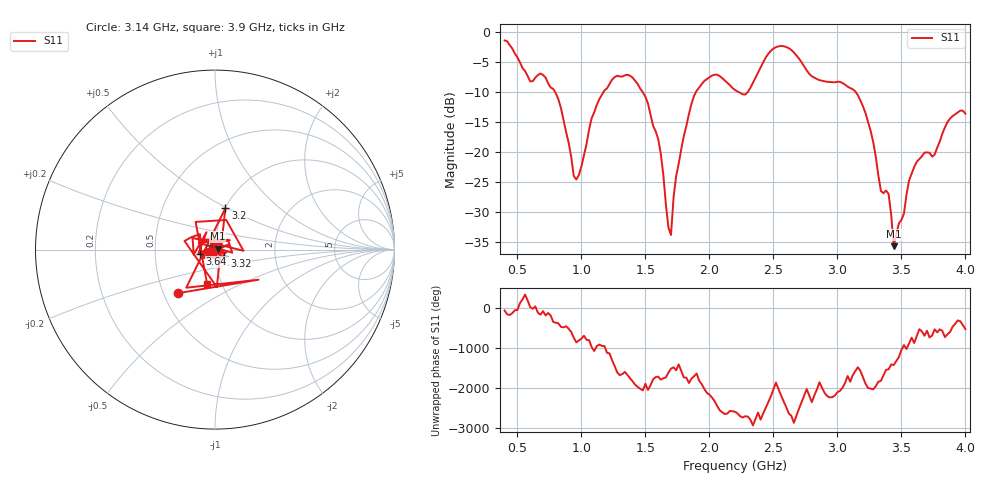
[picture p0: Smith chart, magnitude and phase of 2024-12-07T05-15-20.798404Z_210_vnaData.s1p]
!Created with skrf (http://scikit-rf.org).
# Hz S RI R 50.0
!freq ReS11 ImS11
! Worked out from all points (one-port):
!   181 points, 400 MHz to 4 GHz, reference 50 ohm
!   lowest |S11| = -35.8 dB at 3.44 GHz (marker M1), VSWR 1.03, Z = 51.5 + j0.627 ohm
!   |S11| at or under -10 dB: 792.2 MHz to 1.175 GHz (382.3 MHz wide, 38.9 % of centre); 1.476 GHz to 1.897 GHz (420.7 MHz wide, 24.9 % of centre); 3.141 GHz to end of sweep (the widest 3 of 4)
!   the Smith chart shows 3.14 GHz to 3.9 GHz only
!   S11 on the Smith chart (normalised r, x): 3.14 GHz: 0.60, -0.32; 3.2 GHz: 1.00, +0.49; 3.32 GHz: 1.11, -0.08; 3.64 GHz: 0.85, -0.04; 3.9 GHz: 0.85, -0.34
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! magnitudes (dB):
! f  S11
! 400 MHz  -1.5
! 600 MHz  -8.3
! 720 MHz  -7.7
! 860 MHz  -14.7
! 960 MHz  -24.7
! 1.12 GHz  -12.2
! 1.3 GHz  -7.5
! 1.52 GHz  -12.0
! 1.6 GHz  -17.9
! 1.7 GHz  -33.9
! 1.76 GHz  -22.0
! 1.9 GHz  -9.9
! 2.06 GHz  -7.2
! 2.2 GHz  -9.7
! 2.3 GHz  -10.1
! 2.5 GHz  -2.8
! 2.66 GHz  -3.5
! 3.1 GHz  -9.4
! 3.14 GHz  -10.0
! 3.2 GHz  -12.5
! 3.32 GHz  -24.0
! 3.4 GHz  -27.1
! 3.44 GHz  -35.8
! 3.56 GHz  -24.8
! 3.64 GHz  -21.2
! 3.76 GHz  -20.5
! 3.9 GHz  -14.1
! 4 GHz  -13.7
